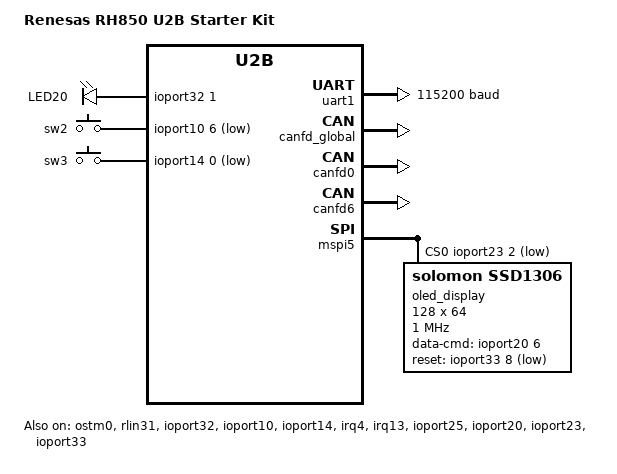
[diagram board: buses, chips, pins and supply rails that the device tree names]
/*
 * Copyright (c) 2026 Renesas Electronics Corporation
 * SPDX-License-Identifier: Apache-2.0
 */

/dts-v1/;

#include <rh850/renesas/rh850u2b/r7f70254xxfabb-c.dtsi>
#include <dt-bindings/gpio/gpio.h>
#include <dt-bindings/pwm/pwm.h>
#include <dt-bindings/input/input-event-codes.h>

#include "y_ask_rh850u2b-pinctrl.dtsi"

/ {
	model = "Renesas RH850 U2B Starter Kit";
	compatible = "renesas,u2b10", "renesas,u2b";

	chosen {
		zephyr,console = &uart1;
		zephyr,shell-uart = &uart1;
		zephyr,sram = &sram0;
		zephyr,flash = &flash0;
		zephyr,system-timer = &ostm0;
		zephyr,canbus = &canfd0;
		zephyr,display = &oled_display;
	};

	aliases {
		led0 = &led20;
		sw0 = &sw2;
	};

	leds {
		compatible = "gpio-leds";

		led20: led20 {
			gpios = <&ioport32 1 GPIO_ACTIVE_HIGH>;
			label = "LED20";
		};
	};

	gpio_keys {
		compatible = "gpio-keys";

		sw2: sw2 {
			label = "sw2";
			gpios = <&ioport10 6 GPIO_ACTIVE_LOW>;
			zephyr,code = <INPUT_KEY_0>;
		};

		sw3: sw3 {
			label = "sw3";
			gpios = <&ioport14 0 GPIO_ACTIVE_LOW>;
			zephyr,code = <INPUT_KEY_1>;
		};
	};

	mdio_gpio: mdio {
		compatible = "zephyr,mdio-gpio";
		mdc-gpios = <&ioport25 5 GPIO_ACTIVE_HIGH>;
		mdio-gpios = <&ioport25 6 GPIO_ACTIVE_HIGH>;
		#address-cells = <1>;
		#size-cells = <0>;
		status = "disabled";

		eth_phy0: ethernet-phy@1f {
			compatible = "ethernet-phy";
			reg = <0x1f>;
			reset-gpios = <&ioport10 8 GPIO_ACTIVE_LOW>;
			reset-assert-duration-us = <1000>;
			reset-deassertion-timeout-ms = <10>;
			default-speeds = "10BASE Full-Duplex", "100BASE Full-Duplex";
			status = "disabled";
		};
	};
};

&ostm0 {
	status = "okay";

	timer {
		status = "okay";
	};
};

&rlin31 {
	pinctrl-0 = <&rlin31_default>;
	pinctrl-names = "default";
	status = "okay";

	uart1: uart {
		current-speed = <115200>;
		status = "okay";
	};
};

&ioport32 {
	status = "okay";
};

&ioport10 {
	irqs = <&irq4 6>;
	status = "okay";
};

&ioport14 {
	irqs = <&irq13 0>;
	status = "okay";
};

&irq4 {
	trigger-type = "falling";
	pinctrl-0 = <&irq4_ioport>;
	pinctrl-names = "default";
	status = "okay";
};

&irq13 {
	trigger-type = "falling";
	pinctrl-0 = <&irq13_ioport>;
	pinctrl-names = "default";
	status = "okay";
};

&canfd_global {
	status = "okay";
};

&canfd0 {
	pinctrl-0 = <&canfd0_default>;
	pinctrl-names = "default";
	status = "okay";
	rx-max-filters = <128>;
};

&canfd6 {
	pinctrl-0 = <&canfd6_default>;
	pinctrl-names = "default";
	status = "okay";
	rx-max-filters = <128>;
};

&ioport25 {
	status = "okay";
};

&etnd0 {
	pinctrl-0 = <&etnd0_rmii_default>;
	pinctrl-names = "default";
	phy-handle = <&eth_phy0>;
	phy-connection-type = "rmii";
	local-mac-address = [74 90 50 54 53 4e];
};

&ioport20 {
	status = "okay";
};

&ioport23 {
	status = "okay";
};

&ioport33 {
	status = "okay";
};

&mspi5 {
	pinctrl-0 = <&mspi5_oled_default>;
	pinctrl-names = "default";
	cs-gpios = <&ioport23 2 GPIO_ACTIVE_LOW>;
	status = "okay";

	oled_display: display-controller@0 {
		compatible = "solomon,ssd1306";
		reg = <0>;
		spi-max-frequency = <1000000>;
		width = <128>;
		height = <64>;
		segment-offset = <0>;
		page-offset = <0>;
		display-offset = <0>;
		multiplex-ratio = <63>;
		segment-remap;
		com-invdir;
		inversion-on;
		prechargep = <0x22>;
		data-cmd-gpios = <&ioport20 6 GPIO_ACTIVE_HIGH>;
		reset-gpios = <&ioport33 8 GPIO_ACTIVE_LOW>;
	};
};
